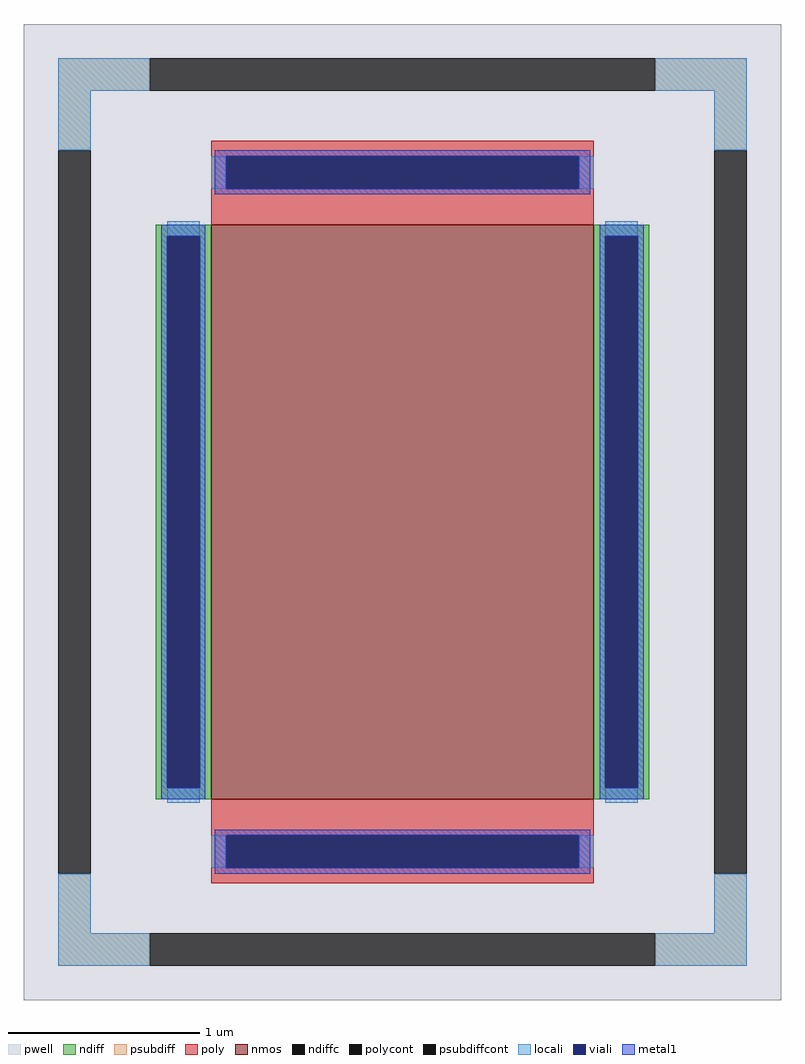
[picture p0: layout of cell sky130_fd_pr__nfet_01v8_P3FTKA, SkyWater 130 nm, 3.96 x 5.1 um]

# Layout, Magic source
magic
tech sky130A
<< pwell >>
rect -198 -255 198 255
<< nmos >>
rect -100 -150 100 150
<< ndiff >>
rect -129 144 -100 150
rect -129 -144 -123 144
rect -106 -144 -100 144
rect -129 -150 -100 -144
rect 100 144 129 150
rect 100 -144 106 144
rect 123 -144 129 144
rect 100 -150 129 -144
<< ndiffc >>
rect -123 -144 -106 144
rect 106 -144 123 144
<< psubdiff >>
rect -180 220 -132 237
rect 132 220 180 237
rect -180 189 -163 220
rect 163 189 180 220
rect -180 -220 -163 -189
rect 163 -220 180 -189
rect -180 -237 -132 -220
rect 132 -237 180 -220
<< psubdiffcont >>
rect -132 220 132 237
rect -180 -189 -163 189
rect 163 -189 180 189
rect -132 -237 132 -220
<< poly >>
rect -100 186 100 194
rect -100 169 -92 186
rect 92 169 100 186
rect -100 150 100 169
rect -100 -169 100 -150
rect -100 -186 -92 -169
rect 92 -186 100 -169
rect -100 -194 100 -186
<< polycont >>
rect -92 169 92 186
rect -92 -186 92 -169
<< locali >>
rect -180 220 -132 237
rect 132 220 180 237
rect -180 189 -163 220
rect 163 189 180 220
rect -100 169 -92 186
rect 92 169 100 186
rect -123 144 -106 152
rect -123 -152 -106 -144
rect 106 144 123 152
rect 106 -152 123 -144
rect -100 -186 -92 -169
rect 92 -186 100 -169
rect -180 -220 -163 -189
rect 163 -220 180 -189
rect -180 -237 -132 -220
rect 132 -237 180 -220
<< viali >>
rect -92 169 92 186
rect -123 -144 -106 144
rect 106 -144 123 144
rect -92 -186 92 -169
<< metal1 >>
rect -98 186 98 189
rect -98 169 -92 186
rect 92 169 98 186
rect -98 166 98 169
rect -126 144 -103 150
rect -126 -144 -123 144
rect -106 -144 -103 144
rect -126 -150 -103 -144
rect 103 144 126 150
rect 103 -144 106 144
rect 123 -144 126 144
rect 103 -150 126 -144
rect -98 -169 98 -166
rect -98 -186 -92 -169
rect 92 -186 98 -169
rect -98 -189 98 -186
<< properties >>
string FIXED_BBOX -171 -228 171 228
string gencell sky130_fd_pr__nfet_01v8
string library sky130
string parameters w 3.0 l 2.0 m 1 nf 1 diffcov 100 polycov 100 guard 1 glc 1 grc 1 gtc 1 gbc 1 tbcov 100 rlcov 100 topc 1 botc 1 poverlap 0 doverlap 1 lmin 0.15 wmin 0.42 compatible {sky130_fd_pr__nfet_01v8 sky130_fd_pr__nfet_01v8_lvt  sky130_fd_bs_flash__special_sonosfet_star  sky130_fd_pr__nfet_g5v0d10v5 sky130_fd_pr__nfet_05v0_nvt  sky130_fd_pr__nfet_03v3_nvt} full_metal 1 viasrc 100 viadrn 100 viagate 100 viagb 0 viagr 0 viagl 0 viagt 0
<< end >>
